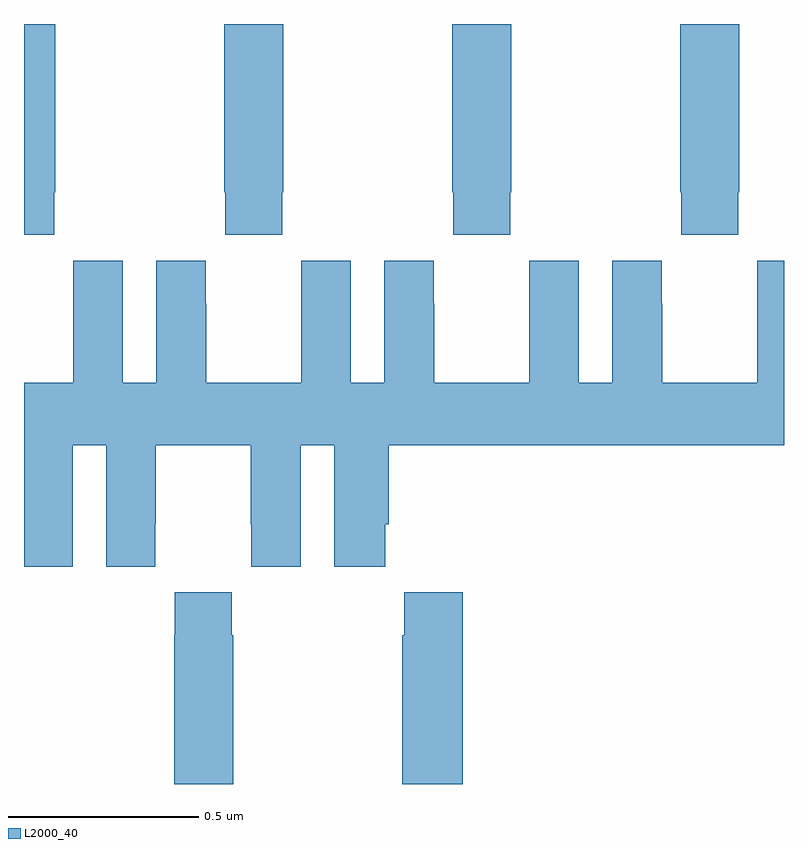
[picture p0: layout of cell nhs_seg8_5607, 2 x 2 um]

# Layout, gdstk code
import gdstk
lib = gdstk.Library(unit=1e-6, precision=1e-09)
def P(c, l, *ps):  # polygons
    for p in ps: c.add(gdstk.Polygon(p, *l))
L2000_40 = (2000, 40)

nhs_seg8_5607 = lib.new_cell('nhs_seg8_5607')
P(nhs_seg8_5607, L2000_40, [(186.279,1158.457),(186.282,1158.457),(186.282,1158.9),(186.127,1158.9),(186.127,1158.457),(186.129,1158.457),(186.129,1158.345),(186.279,1158.345)],
  [(186.879,1158.457),(186.882,1158.457),(186.882,1158.9),(186.727,1158.9),(186.727,1158.457),(186.729,1158.457),(186.729,1158.345),(186.879,1158.345)],
  [(185.079,1158.457),(185.082,1158.457),(185.082,1158.9),(185,1158.9),(185,1158.345),(185.079,1158.345)],
  [(185.679,1158.457),(185.682,1158.457),(185.682,1158.9),(185.527,1158.9),(185.527,1158.457),(185.529,1158.457),(185.529,1158.345),(185.679,1158.345)],
  [(185.128,1157.792),(185.216,1157.792),(185.216,1157.472),(185.346,1157.472),(185.346,1157.584),(185.347,1157.584),(185.347,1157.792),(185.597,1157.792),(185.597,1157.584),(185.598,1157.584),(185.598,1157.472),(185.728,1157.472),(185.728,1157.792),(185.816,1157.792),(185.816,1157.472),(185.95,1157.472),(185.95,1157.584),(185.96,1157.584),(185.96,1157.792),(187,1157.792),(187,1158.277),(186.93,1158.277),(186.93,1158.164),(186.929,1158.164),(186.929,1157.956),(186.679,1157.956),(186.679,1158.164),(186.678,1158.164),(186.678,1158.277),(186.548,1158.277),(186.548,1157.956),(186.46,1157.956),(186.46,1158.277),(186.33,1158.277),(186.33,1158.164),(186.329,1158.164),(186.329,1157.956),(186.079,1157.956),(186.079,1158.164),(186.078,1158.164),(186.078,1158.277),(185.948,1158.277),(185.948,1157.956),(185.86,1157.956),(185.86,1158.277),(185.73,1158.277),(185.73,1158.164),(185.729,1158.164),(185.729,1157.956),(185.479,1157.956),(185.479,1158.164),(185.478,1158.164),(185.478,1158.277),(185.348,1158.277),(185.348,1157.956),(185.26,1157.956),(185.26,1158.277),(185.13,1158.277),(185.13,1158.164),(185.129,1158.164),(185.129,1157.956),(185,1157.956),(185,1157.472),(185.128,1157.472)],
  [(186.155,1157.404),(186.001,1157.404),(186.001,1157.291),(185.995,1157.291),(185.995,1156.9),(186.155,1156.9)],
  [(185.55,1157.291),(185.547,1157.291),(185.547,1157.404),(185.397,1157.404),(185.397,1157.291),(185.395,1157.291),(185.395,1156.9),(185.55,1156.9)])

lib.write_gds('nhs_seg8_5607.gds')
